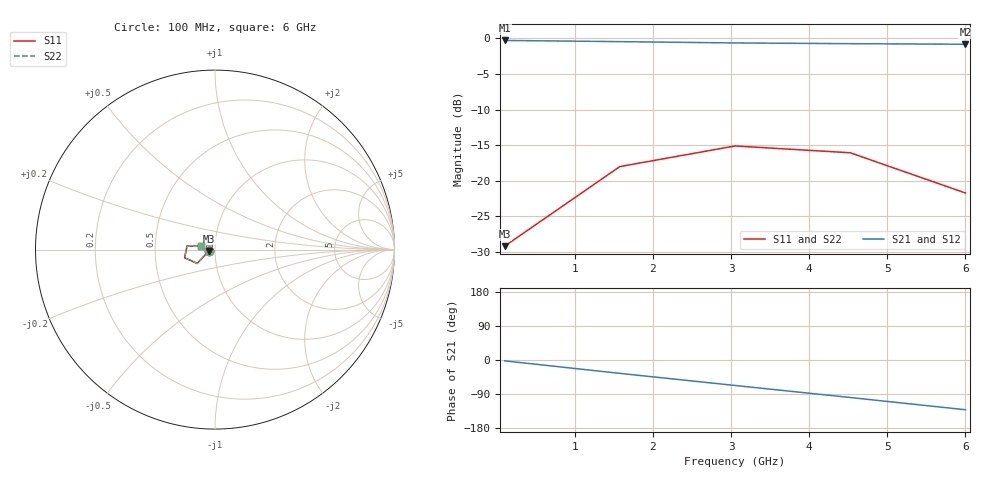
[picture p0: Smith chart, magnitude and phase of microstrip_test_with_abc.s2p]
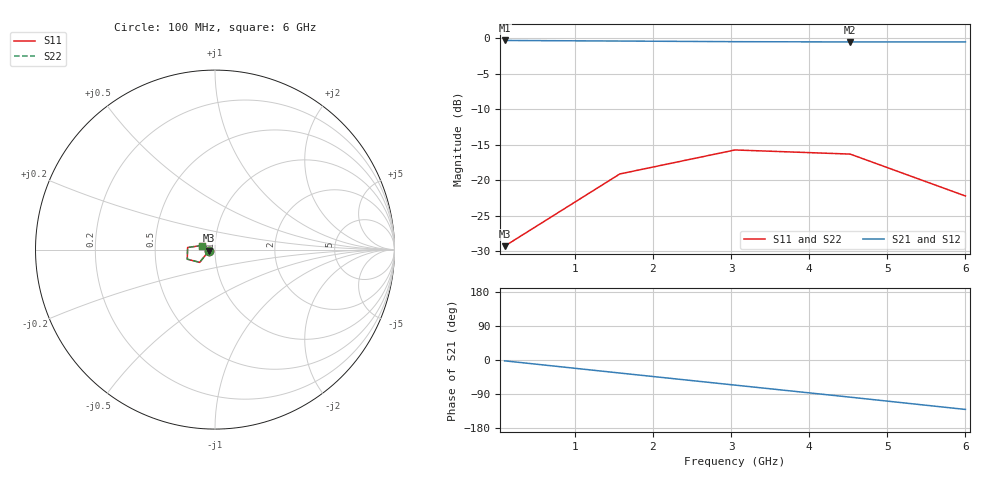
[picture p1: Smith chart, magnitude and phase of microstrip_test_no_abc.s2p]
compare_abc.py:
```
"""
Compare S-parameter and Z0 results with and without absorbing boundary conditions.

Reads:
  results/simple_test/microstrip_test_with_abc.s2p
  results/simple_test/microstrip_test_no_abc.s2p

Outputs:
  results/simple_test/comparison_S_params.png
  results/simple_test/comparison_Z0.png
"""

import sys, pathlib
import numpy as np
import matplotlib
matplotlib.use("Agg")
import matplotlib.pyplot as plt

if hasattr(sys.stdout, "reconfigure"):
    sys.stdout.reconfigure(encoding="utf-8", errors="replace")

OUTDIR = pathlib.Path(__file__).parent / "results" / "simple_test"

# ── Geometry constants (must match test_simple_microstrip.py) ─────────────────
BW  = 10e-3; BT = 1.6e-3; TT = 35e-6; ER = 4.4
TW_m = 3e-3
px1  = 1e-3
_Wu  = TW_m + (TT / np.pi) * (1 + np.log(2 * BT / TT))
_ue  = _Wu / BT
_eeff = (ER + 1)/2 + (ER - 1)/2 * (1 + 12/_ue)**-0.5
Z0_analytical = (120 * np.pi / np.sqrt(_eeff)) / (_ue + 1.393 + 0.667 * np.log(_ue + 1.444))
_Lline = max(BW - 2 * px1, BW * 0.8)


def read_s2p(path):
    """Return (freq_Hz, S_complex[M,2,2]) from a .s2p Touchstone file."""
    freqs, rows = [], []
    with open(path) as fh:
        for line in fh:
            line = line.strip()
            if not line or line.startswith("!"):
                continue
            if line.startswith("#"):
                parts = line.split()
                fmul = {"HZ": 1, "KHZ": 1e3, "MHZ": 1e6, "GHZ": 1e9}.get(
                    parts[1].upper(), 1.0)
                fmt = parts[3].upper()   # RI / MA / DB
                continue
            vals = list(map(float, line.split()))
            freqs.append(vals[0] * fmul)
            rows.append(vals[1:])
    M = len(freqs)
    freq = np.array(freqs)
    S = np.zeros((M, 2, 2), dtype=complex)
    for k, r in enumerate(rows):
        # S2P order: S11 S21 S12 S22  (each as pair)
        pairs = [(r[2*i], r[2*i+1]) for i in range(4)]
        order = [(0,0),(1,0),(0,1),(1,1)]
        for (i,j),(a,b) in zip(order, pairs):
            if fmt == "RI":
                S[k,i,j] = complex(a, b)
            elif fmt == "MA":
                S[k,i,j] = a * np.exp(1j * np.radians(b))
            elif fmt == "DB":
                S[k,i,j] = 10**(a/20) * np.exp(1j * np.radians(b))
    return freq, S


def extract_z0(freq, S):
    Z0_ext = np.zeros(len(freq), dtype=complex)
    eeff   = np.zeros(len(freq))
    for k, f in enumerate(freq):
        S11 = S[k,0,0]; S21 = S[k,1,0]
        d = 1 - S11
        if abs(d) > 1e-10:
            Z0_ext[k] = 50.0 * (1 + S11) / d
        ph = -np.angle(S21)
        if f > 0 and ph != 0:
            k0 = 2*np.pi*f/3e8
            b  = ph / _Lline
            eeff[k] = (b/k0)**2 if k0 > 0 else 0.0
    return Z0_ext, eeff


# ── Load files ────────────────────────────────────────────────────────────────
files = {
    "With ABC":    OUTDIR / "microstrip_test_with_abc.s2p",
    "Without ABC": OUTDIR / "microstrip_test_no_abc.s2p",
}

data = {}
for label, path in files.items():
    if not path.exists():
        print(f"MISSING: {path}"); sys.exit(1)
    freq, S = read_s2p(path)
    Z0, eeff = extract_z0(freq, S)
    data[label] = dict(freq=freq, S=S, Z0=Z0, eeff=eeff)
    print(f"Loaded {label}: {len(freq)} freq points")

colors = {"With ABC": "#2196f3", "Without ABC": "#f44336"}

# ── Plot 1: S-parameters ──────────────────────────────────────────────────────
fig, axes = plt.subplots(1, 2, figsize=(13, 5))
fig.suptitle("S-parameters: With vs Without ABC  (Absorbing Boundary)", fontsize=13)

for label, d in data.items():
    f = d["freq"] / 1e9
    S = d["S"]
    s11 = 20*np.log10(np.abs(S[:,0,0]) + 1e-30)
    s21 = 20*np.log10(np.abs(S[:,1,0]) + 1e-30)
    axes[0].plot(f, s11, "o-", color=colors[label], label=label, lw=2, ms=6)
    axes[1].plot(f, s21, "o-", color=colors[label], label=label, lw=2, ms=6)

axes[0].set_title("|S11| — Return loss")
axes[0].set_xlabel("Frequency (GHz)"); axes[0].set_ylabel("dB")
axes[0].legend(); axes[0].grid(True, alpha=0.4)
axes[0].axhline(-10, color="gray", ls=":", lw=1, label="-10 dB")

axes[1].set_title("|S21| — Insertion loss")
axes[1].set_xlabel("Frequency (GHz)"); axes[1].set_ylabel("dB")
axes[1].legend(); axes[1].grid(True, alpha=0.4)

plt.tight_layout()
out1 = OUTDIR / "comparison_S_params.png"
plt.savefig(out1, dpi=150)
plt.close()
print(f"S-param comparison: {out1}")

# ── Plot 2: Z0 and εeff ───────────────────────────────────────────────────────
fig, axes = plt.subplots(1, 2, figsize=(13, 5))
fig.suptitle("Impedance & Effective Permittivity: With vs Without ABC", fontsize=13)

for label, d in data.items():
    f = d["freq"] / 1e9
    axes[0].plot(f, np.abs(d["Z0"]), "o-", color=colors[label], label=label, lw=2, ms=6)
    axes[1].plot(f, d["eeff"],        "o-", color=colors[label], label=label, lw=2, ms=6)

axes[0].axhline(Z0_analytical, color="green", ls="--", lw=1.5,
                label=f"Analytical Z0 = {Z0_analytical:.1f} Ω")
axes[0].set_title("|Z0| extracted from S11")
axes[0].set_xlabel("Frequency (GHz)"); axes[0].set_ylabel("Ω")
axes[0].legend(); axes[0].grid(True, alpha=0.4)

axes[1].axhline(_eeff, color="green", ls="--", lw=1.5,
                label=f"Analytical εeff = {_eeff:.3f}")
axes[1].set_title("Effective Permittivity εeff from S21 phase")
axes[1].set_xlabel("Frequency (GHz)"); axes[1].set_ylabel("εeff")
axes[1].legend(); axes[1].grid(True, alpha=0.4)

plt.tight_layout()
out2 = OUTDIR / "comparison_Z0.png"
plt.savefig(out2, dpi=150)
plt.close()
print(f"Z0 comparison:      {out2}")

# ── Console table ─────────────────────────────────────────────────────────────
print()
print(f"{'Freq(GHz)':<10} {'S11 no_abc':>12} {'S11 abc':>12} {'ΔS11':>8} "
      f"{'S21 no_abc':>12} {'S21 abc':>12} {'ΔS21':>8}")
print("-" * 80)
d_abc  = data["With ABC"]
d_none = data["Without ABC"]
for k in range(len(d_abc["freq"])):
    f  = d_abc["freq"][k]/1e9
    s11a = 20*np.log10(abs(d_abc ["S"][k,0,0])+1e-30)
    s11n = 20*np.log10(abs(d_none["S"][k,0,0])+1e-30)
    s21a = 20*np.log10(abs(d_abc ["S"][k,1,0])+1e-30)
    s21n = 20*np.log10(abs(d_none["S"][k,1,0])+1e-30)
    print(f"{f:<10.3f} {s11n:>12.2f} {s11a:>12.2f} {s11a-s11n:>+8.2f} "
          f"{s21n:>12.2f} {s21a:>12.2f} {s21a-s21n:>+8.2f}")

print()
print(f"  Analytical  Z0 = {Z0_analytical:.1f} Ω   εeff = {_eeff:.3f}")
print()
print(f"{'Freq(GHz)':<10} {'|Z0| no_abc':>13} {'|Z0| abc':>13} {'Δ|Z0|':>9} "
      f"{'eeff no_abc':>13} {'eeff abc':>13}")
print("-" * 76)
for k in range(len(d_abc["freq"])):
    f  = d_abc["freq"][k]/1e9
    z0a = abs(d_abc ["Z0"][k]); z0n = abs(d_none["Z0"][k])
    ea  = d_abc ["eeff"][k];    en  = d_none["eeff"][k]
    print(f"{f:<10.3f} {z0n:>13.2f} {z0a:>13.2f} {z0a-z0n:>+9.2f} "
          f"{en:>13.4f} {ea:>13.4f}")

print("\nDone.")
```
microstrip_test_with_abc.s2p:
! Generated by EMerge - 2-port S-parameters
! File generated: 2026-08-03 11:43
# GHz S RI R 50
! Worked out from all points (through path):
!   5 points, 100 MHz to 6 GHz, reference 50 ohm
!   highest |S21| = -0.30 dB at 100 MHz (marker M1); lowest = -0.8 dB at 6 GHz (marker M2)
!   lowest |S11| = -29.2 dB at 100 MHz (marker M3), VSWR 1.07, Z = 46.7 - j0.681 ohm
!   |S11| at or under -10 dB: start of sweep to end of sweep
!   |S22| runs from -29.2 to -15.1 dB; largest |S21 - S12| = 5.7e-05
0.1  -0.0339 -0.00728  0.9654 -0.0383  0.9654 -0.0383  -0.0339 -0.00728
1.575  -0.0992 -0.0771  0.7741 -0.5472  0.7741 -0.5472  -0.0993 -0.0772
3.05  -0.1694 -0.0455  0.3597 -0.8555  0.3596 -0.8555  -0.1695 -0.0454
4.525  -0.1559 0.0197  -0.1429 -0.9061  -0.1429 -0.9061  -0.1558 0.0196
6  -0.0799 0.0184  -0.599 -0.6833  -0.5991 -0.6833  -0.0799 0.0181
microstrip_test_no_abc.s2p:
! Generated by EMerge - 2-port S-parameters
! File generated: 2026-08-03 11:57
# GHz S RI R 50
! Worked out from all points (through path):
!   5 points, 100 MHz to 6 GHz, reference 50 ohm
!   highest |S21| = -0.30 dB at 100 MHz (marker M1); lowest = -0.5 dB at 4.525 GHz (marker M2)
!   lowest |S11| = -29.3 dB at 100 MHz (marker M3), VSWR 1.07, Z = 46.7 - j0.563 ohm
!   |S11| at or under -10 dB: start of sweep to end of sweep
!   |S22| runs from -29.3 to -15.7 dB; largest |S21 - S12| = 6.1e-05
0.1  -0.0338 -0.00602  0.9655 -0.037  0.9655 -0.037  -0.0338 -0.00602
1.575  -0.085 -0.0711  0.7897 -0.5407  0.7897 -0.5407  -0.085 -0.0711
3.05  -0.1546 -0.0533  0.3814 -0.867  0.3814 -0.867  -0.1546 -0.0534
4.525  -0.1525 0.0118  -0.1325 -0.934  -0.1325 -0.934  -0.1526 0.0116
6  -0.0741 0.0228  -0.6125 -0.7179  -0.6126 -0.7178  -0.0743 0.0226
